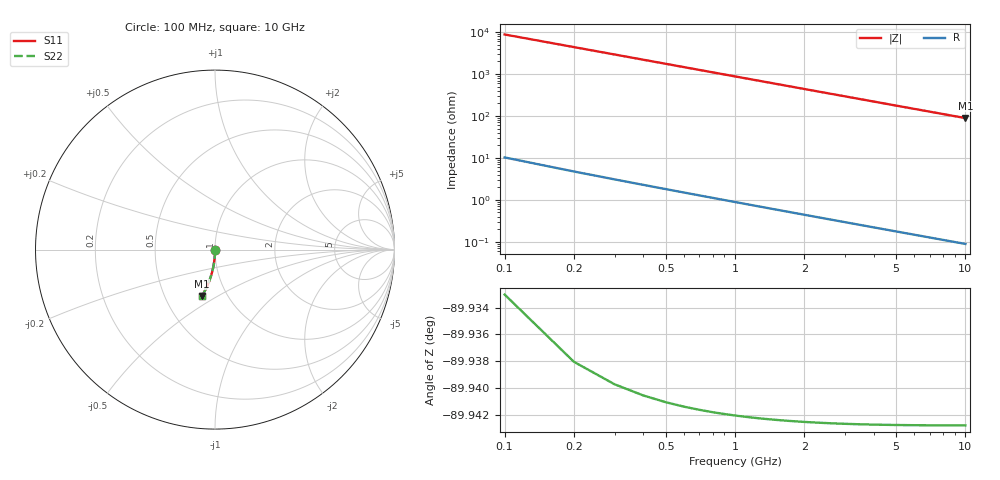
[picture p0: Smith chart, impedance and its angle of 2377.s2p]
# Hz S RI R 50.00
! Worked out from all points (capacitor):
!   100 points, 100 MHz to 10 GHz, reference 50 ohm
!   read as one part in shunt: C = 181 fF near 100 MHz
!   lowest |Z| = 89.2 ohm at 10 GHz (marker M1)
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1e8  -9.55e-06 -0.00283  1 -0.00286  1 -0.00286  -9.55e-06 -0.00283
2e8  -3.66e-05 -0.00567  1 -0.00571  1 -0.00571  -3.66e-05 -0.00567
3e8  -7.99e-05 -0.0085  0.9999 -0.00857  0.9999 -0.00857  -7.99e-05 -0.0085
4e8  -0.000139 -0.0113  0.9999 -0.0114  0.9999 -0.0114  -0.000139 -0.0113
5e8  -0.000215 -0.0142  0.9998 -0.0143  0.9998 -0.0143  -0.000215 -0.0142
6e8  -0.000307 -0.017  0.9997 -0.0171  0.9997 -0.0171  -0.000307 -0.017
7e8  -0.000414 -0.0198  0.9996 -0.02  0.9996 -0.02  -0.000414 -0.0198
8e8  -0.000538 -0.0226  0.9995 -0.0228  0.9995 -0.0228  -0.000538 -0.0226
9e8  -0.000678 -0.0255  0.9993 -0.0257  0.9993 -0.0257  -0.000678 -0.0255
1.1e9  -0.00101 -0.0311  0.999 -0.0314  0.999 -0.0314  -0.00101 -0.0311
1.4e9  -0.00162 -0.0395  0.9984 -0.0399  0.9984 -0.0399  -0.00162 -0.0395
1.8e9  -0.00265 -0.0508  0.9973 -0.0512  0.9973 -0.0512  -0.00265 -0.0508
2.1e9  -0.0036 -0.0591  0.9964 -0.0596  0.9964 -0.0596  -0.0036 -0.0591
2.5e9  -0.00507 -0.0702  0.9949 -0.0708  0.9949 -0.0708  -0.00507 -0.0702
2.9e9  -0.00678 -0.0813  0.9932 -0.0819  0.9932 -0.0819  -0.00678 -0.0813
3.4e9  -0.00927 -0.095  0.9907 -0.0957  0.9907 -0.0957  -0.00927 -0.095
4.2e9  -0.014 -0.1166  0.986 -0.1175  0.986 -0.1175  -0.014 -0.1166
5.1e9  -0.0204 -0.1404  0.9796 -0.1416  0.9796 -0.1416  -0.0204 -0.1404
5.9e9  -0.0271 -0.1611  0.9729 -0.1625  0.9729 -0.1625  -0.0271 -0.1611
6.7e9  -0.0345 -0.1813  0.9655 -0.1829  0.9655 -0.1829  -0.0345 -0.1813
8.4e9  -0.0529 -0.2224  0.9471 -0.2244  0.9471 -0.2244  -0.0529 -0.2224
1e10  -0.0731 -0.2586  0.9269 -0.261  0.9269 -0.261  -0.0731 -0.2586
